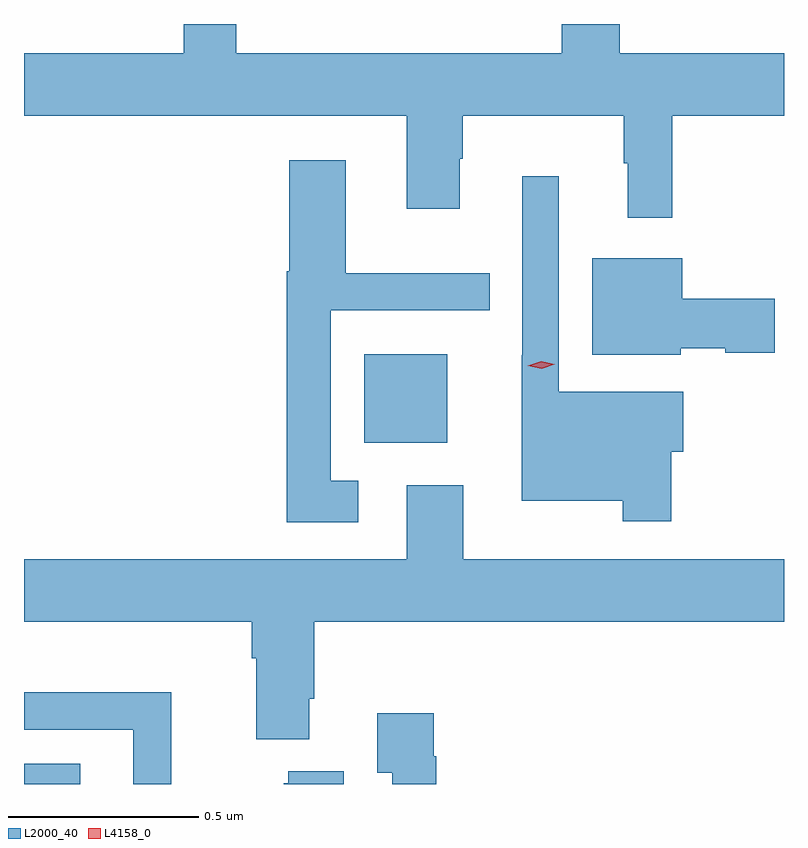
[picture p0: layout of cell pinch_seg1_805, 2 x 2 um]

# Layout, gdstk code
import gdstk
lib = gdstk.Library(unit=1e-6, precision=1e-09)
def R(c, l, rs):  # rectangles x0, y0, x1, y1
    for r in rs: c.add(gdstk.rectangle(r[:2], r[2:], *l))
def P(c, l, *ps):  # polygons
    for p in ps: c.add(gdstk.Polygon(p, *l))
L2000_40 = (2000, 40)
L4158_0 = (4158, 0)

pinch_seg1_805 = lib.new_cell('pinch_seg1_805')
R(pinch_seg1_805, L2000_40, [(554.034,543.313,554.182,543.366), (554.93,544.211,555.148,544.444)])
P(pinch_seg1_805, L2000_40, [(554.593,545.313),(554.454,545.313),(554.454,545.236),(554.034,545.236),(554.034,545.072),(555.041,545.072),(555.041,544.827),(555.181,544.827),(555.181,544.958),(555.189,544.958),(555.189,545.072),(555.612,545.072),(555.612,544.946),(555.623,544.946),(555.623,544.803),(555.74,544.803),(555.74,545.072),(556.034,545.072),(556.034,545.236),(555.602,545.236),(555.602,545.313),(555.449,545.313),(555.449,545.236),(554.593,545.236)],
  [(554.914,544.111),(554.841,544.111),(554.841,544.56),(555.26,544.56),(555.26,544.657),(554.881,544.657),(554.881,544.954),(554.732,544.954),(554.732,544.663),(554.725,544.663),(554.725,544.002),(554.914,544.002)],
  [(555.737,544.187),(555.769,544.187),(555.769,544.345),(555.441,544.345),(555.441,544.912),(555.345,544.912),(555.345,544.441),(555.344,544.441),(555.344,544.058),(555.609,544.058),(555.609,544.005),(555.737,544.005)],
  [(555.762,544.46),(555.879,544.46),(555.879,544.448),(556.009,544.448),(556.009,544.59),(555.766,544.59),(555.766,544.696),(555.53,544.696),(555.53,544.442),(555.762,544.442)],
  [(554.785,543.538),(554.798,543.538),(554.798,543.74),(556.034,543.74),(556.034,543.904),(555.19,543.904),(555.19,544.099),(555.041,544.099),(555.041,543.904),(554.034,543.904),(554.034,543.74),(554.633,543.74),(554.633,543.644),(554.645,543.644),(554.645,543.431),(554.785,543.431)],
  [(554.421,543.554),(554.034,543.554),(554.034,543.456),(554.322,543.456),(554.322,543.313),(554.421,543.313)],
  [(555.119,543.386),(555.112,543.386),(555.112,543.499),(554.963,543.499),(554.963,543.343),(555.003,543.343),(555.003,543.313),(555.119,543.313)],
  [(554.875,543.346),(554.729,543.346),(554.729,543.315),(554.717,543.315),(554.717,543.313),(554.875,543.313)])
P(pinch_seg1_805, L4158_0, [(555.396,544.406),(555.36,544.414),(555.36,544.414),(555.36,544.414),(555.395,544.426),(555.431,544.418),(555.431,544.418),(555.431,544.417)])

lib.write_gds('pinch_seg1_805.gds')
